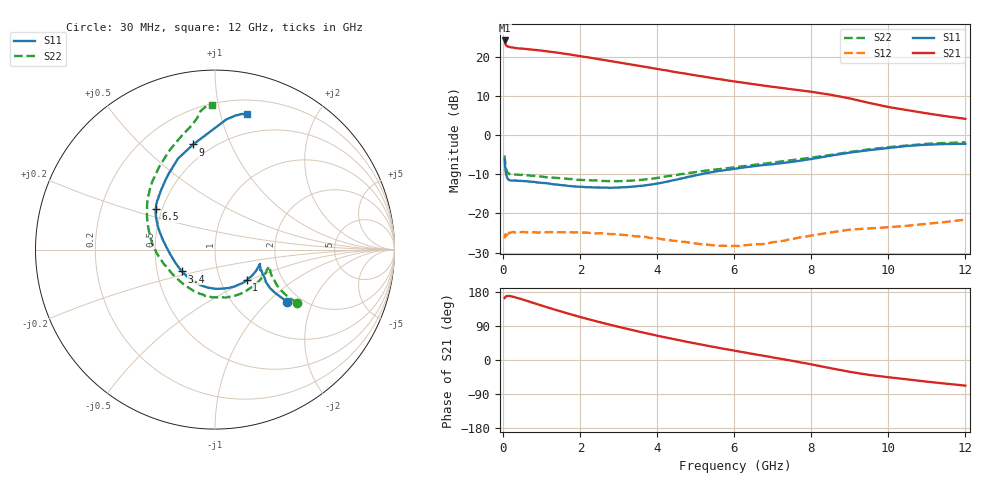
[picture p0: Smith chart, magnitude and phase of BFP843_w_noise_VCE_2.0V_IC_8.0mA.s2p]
! Infineon Technologies  Discrete & RF Semiconductors
! BFP843
! VCE =  2.0 V,  IC =  8.0 mA
! Common Emitter S-Parameters:  Aug 2013
# GHz  S  MA  R  50
!  f  S11  S21  S12  S22
! GHz  MAG  ANG  MAG  ANG  MAG  ANG  MAG  ANG
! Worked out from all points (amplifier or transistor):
!   103 points, 30 MHz to 12 GHz, reference 50 ohm
!   highest |S21| = 24.2 dB at 30 MHz (marker M1)
!   |S21| within 3 dB of that: start of sweep to 1.308 GHz
!   unconditionally stable (mu >= 1): 139.3 MHz to 142.6 MHz; 158.2 MHz to 10.87 GHz
!   at 400 MHz: K = 1.01, MAG = 22.8 dB, |S12| = -24.8 dB
!   at 3.7 GHz: K = 1.30, MAG = 18.4 dB, |S12| = -26.0 dB
!   at 12 GHz: K = 0.82, MSG = 12.9 dB, |S12| = -21.6 dB
!   lowest NFmin = 0.91 dB at 450 MHz
!   S11 on the Smith chart (normalised r, x): 30 MHz: 1.70, -1.32; 1 GHz: 1.33, -0.48; 3.4 GHz: 0.67, -0.17; 6.5 GHz: 0.46, +0.25; 9 GHz: 0.40, +0.73; 12 GHz: 0.32, +1.21
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0.03  0.4961 -35.9  16.22 163.6  0.0478 30.8  0.5485 -33.1
0.04  0.4158 -35.8  15.24 164.5  0.0517 25.2  0.4717 -32.7
0.05  0.3746 -35.0  14.7 166.8  0.054 16.4  0.4201 -31.3
0.07  0.317 -29.5  13.99 168.1  0.0533 15.2  0.3705 -27.2
0.13  0.2709 -21.2  13.54 169.3  0.0565 8.9  0.3206 -19.5
0.3  0.2633 -17.9  13 165.6  0.057 3.0  0.3133 -17.9
0.6  0.2575 -27.7  12.59 156.4  0.0573 -0.2  0.3075 -27.7
1  0.245 -43.7  12.01 143.4  0.0578 -2.7  0.2954 -43.9
1.3  0.2351 -56.3  11.49 133.9  0.0575 -4.7  0.286 -56.5
1.6  0.2276 -69.5  10.96 124.9  0.0573 -6.2  0.279 -68.9
2.1  0.2171 -92.0  10.03 110.6  0.0569 -9.7  0.2663 -89.5
2.7  0.2131 -117.7  8.958 94.8  0.0547 -13.4  0.2582 -112.9
3.4  0.2206 -146.6  7.857 77.8  0.051 -16.8  0.2637 -139.3
4.1  0.2458 -171.3  6.87 62.0  0.0469 -18.8  0.2884 -161.4
5.1  0.3136 164.4  5.696 41.4  0.0406 -15.7  0.3431 177.0
6.1  0.3774 150.5  4.782 22.8  0.0383 -5.7  0.3941 161.1
6.5  0.4008 145.5  4.475 15.7  0.04 -1.7  0.4167 155.2
7.6  0.4628 128.2  3.797 -4.0  0.0481 5.5  0.486 139.0
8.5  0.5466 112.3  3.279 -21.6  0.0571 4.0  0.5583 123.6
9  0.5986 101.7  2.943 -31.3  0.062 1.3  0.6089 114.5
10.5  0.7284 85.0  2.083 -51.2  0.0695 -5.2  0.7382 97.8
12  0.7752 76.9  1.615 -67.6  0.0833 -12.1  0.8081 91.2
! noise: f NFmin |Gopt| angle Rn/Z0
0.45  0.91  0.1  6  0.01
0.9  0.92  0.1  16  0.03
1.5  0.94  0.1  26  0.09
1.9  0.96  0.09  37  0.17
2.4  1  0.07  48  0.24
3.5  1.07  0.05  59  0.28
5.5  1.21  0.14  -134  0.33
10  1.87  0.5  -69  0.42
